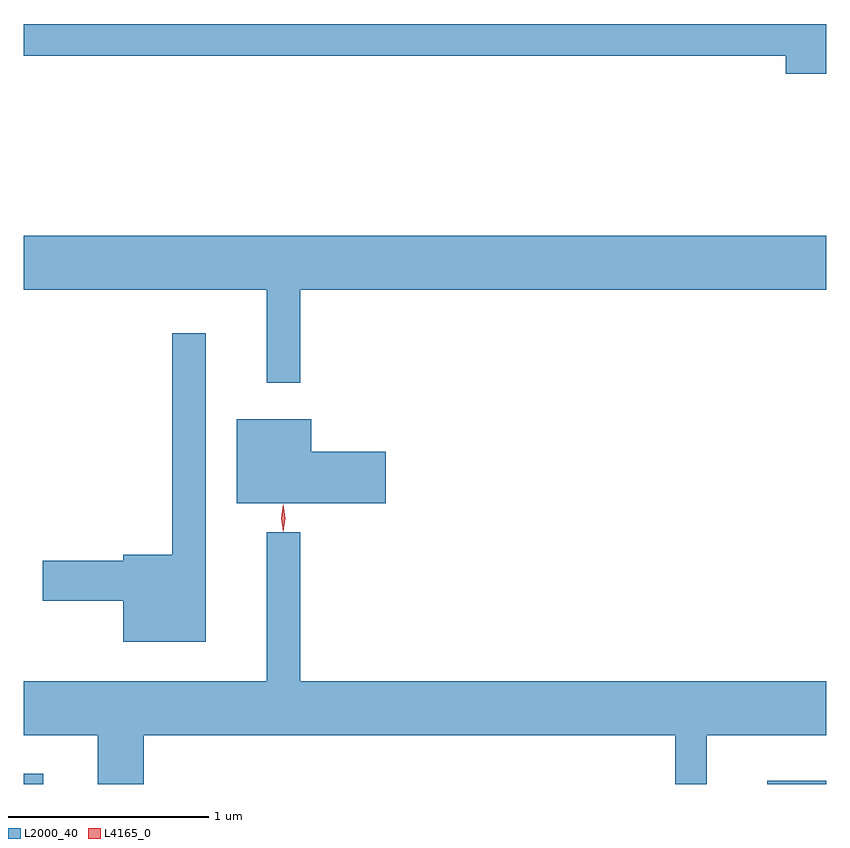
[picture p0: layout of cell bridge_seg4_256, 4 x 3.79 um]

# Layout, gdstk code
import gdstk
lib = gdstk.Library(unit=1e-6, precision=1e-09)
def R(c, l, rs):  # rectangles x0, y0, x1, y1
    for r in rs: c.add(gdstk.rectangle(r[:2], r[2:], *l))
def P(c, l, *ps):  # polygons
    for p in ps: c.add(gdstk.Polygon(p, *l))
L2000_40 = (2000, 40)
L4165_0 = (4165, 0)

bridge_seg4_256 = lib.new_cell('bridge_seg4_256')
R(bridge_seg4_256, L2000_40, [(705.42,1358.873,705.519,1358.924), (709.126,1358.873,709.42,1358.889)])
P(bridge_seg4_256, L2000_40, [(709.42,1362.659),(705.42,1362.659),(705.42,1362.501),(709.216,1362.501),(709.216,1362.411),(709.42,1362.411)],
  [(706.799,1361.336),(709.42,1361.336),(709.42,1361.604),(705.42,1361.604),(705.42,1361.336),(706.631,1361.336),(706.631,1360.873),(706.799,1360.873)],
  [(706.329,1361.118),(706.161,1361.118),(706.161,1360.014),(705.916,1360.014),(705.916,1359.984),(705.516,1359.984),(705.516,1359.786),(705.916,1359.786),(705.916,1359.581),(706.329,1359.581)],
  [(707.224,1360.529),(706.854,1360.529),(706.854,1360.689),(706.481,1360.689),(706.481,1360.271),(707.224,1360.271)],
  [(706.019,1359.116),(708.666,1359.116),(708.666,1358.873),(708.824,1358.873),(708.824,1359.116),(709.42,1359.116),(709.42,1359.384),(706.799,1359.384),(706.799,1360.128),(706.631,1360.128),(706.631,1359.384),(705.42,1359.384),(705.42,1359.116),(705.791,1359.116),(705.791,1358.873),(706.019,1358.873)])
P(bridge_seg4_256, L4165_0, [(706.715,1360.133),(706.714,1360.134),(706.704,1360.196),(706.713,1360.259),(706.714,1360.26),(706.714,1360.259),(706.724,1360.196),(706.715,1360.134)],
  [(706.714,1360.13),(706.704,1360.198),(706.713,1360.266),(706.714,1360.266),(706.714,1360.266),(706.724,1360.198),(706.715,1360.13),(706.715,1360.13)])

lib.write_gds('bridge_seg4_256.gds')
